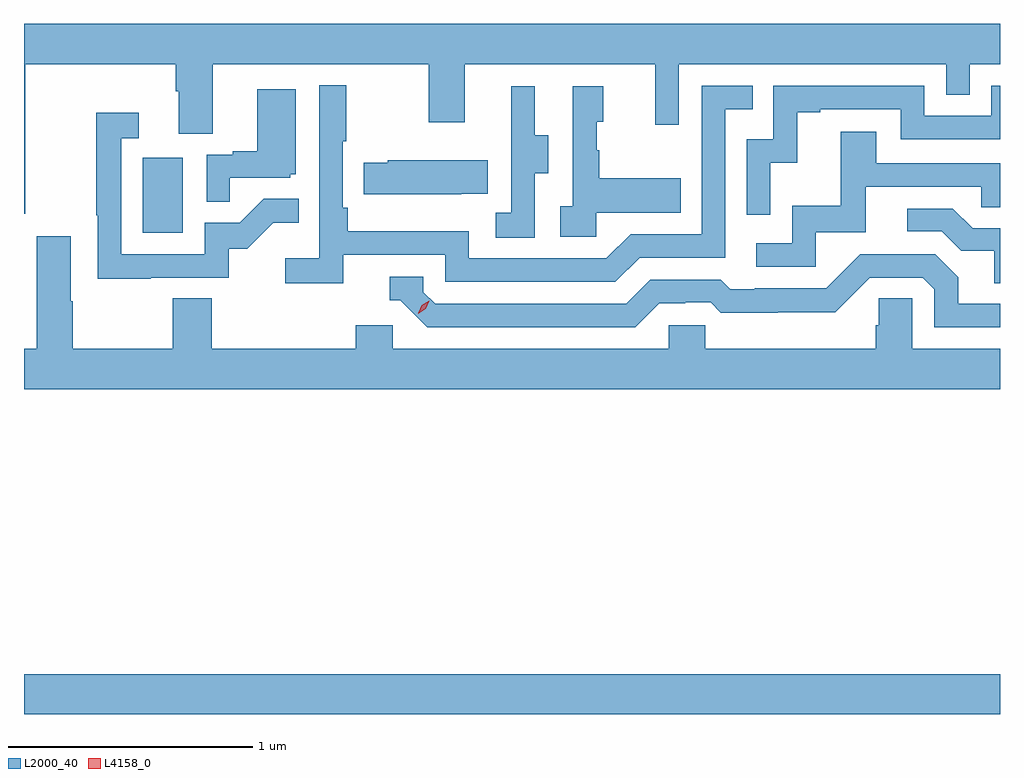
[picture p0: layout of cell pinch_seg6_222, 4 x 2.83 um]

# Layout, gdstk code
import gdstk
lib = gdstk.Library(unit=1e-6, precision=1e-09)
def R(c, l, rs):  # rectangles x0, y0, x1, y1
    for r in rs: c.add(gdstk.rectangle(r[:2], r[2:], *l))
def P(c, l, *ps):  # polygons
    for p in ps: c.add(gdstk.Polygon(p, *l))
L2000_40 = (2000, 40)
L4158_0 = (4158, 0)

pinch_seg6_222 = lib.new_cell('pinch_seg6_222')
R(pinch_seg6_222, L2000_40, [(1089.907,931.352,1093.907,931.516), (1090.394,933.324,1090.558,933.631)])
P(pinch_seg6_222, L2000_40, [(1089.913,934.016),(1090.529,934.016),(1090.529,933.904),(1090.541,933.904),(1090.541,933.73),(1090.681,933.73),(1090.681,934.016),(1091.566,934.016),(1091.566,933.777),(1091.713,933.777),(1091.713,934.016),(1092.494,934.016),(1092.494,933.768),(1092.591,933.768),(1092.591,934.016),(1093.686,934.016),(1093.686,933.889),(1093.782,933.889),(1093.782,934.016),(1093.907,934.016),(1093.907,934.18),(1089.907,934.18),(1089.907,933.402),(1089.913,933.402)],
  [(1091.216,933.234),(1091.634,933.234),(1091.634,933.123),(1092.331,933.123),(1092.43,933.222),(1092.78,933.222),(1092.78,933.831),(1092.893,933.831),(1092.893,933.927),(1092.684,933.927),(1092.684,933.318),(1092.393,933.318),(1092.294,933.219),(1091.73,933.219),(1091.73,933.331),(1091.234,933.331),(1091.234,933.427),(1091.214,933.427),(1091.214,933.7),(1091.227,933.7),(1091.227,933.928),(1091.118,933.928),(1091.118,933.22),(1090.977,933.22),(1090.977,933.118),(1091.216,933.118)],
  [(1092.966,933.611),(1093.076,933.611),(1093.076,933.819),(1093.171,933.819),(1093.171,933.831),(1093.5,933.831),(1093.5,933.708),(1093.907,933.708),(1093.907,933.927),(1093.872,933.927),(1093.872,933.804),(1093.596,933.804),(1093.596,933.927),(1092.978,933.927),(1092.978,933.708),(1092.87,933.708),(1092.87,933.399),(1092.966,933.399)],
  [(1092.252,933.407),(1092.599,933.407),(1092.599,933.547),(1092.265,933.547),(1092.265,933.662),(1092.255,933.662),(1092.255,933.78),(1092.28,933.78),(1092.28,933.925),(1092.156,933.925),(1092.156,933.434),(1092.105,933.434),(1092.105,933.309),(1092.252,933.309)],
  [(1092,933.568),(1092.055,933.568),(1092.055,933.723),(1092.001,933.723),(1092.001,933.925),(1091.903,933.925),(1091.903,933.711),(1091.904,933.711),(1091.904,933.407),(1091.841,933.407),(1091.841,933.304),(1092,933.304)],
  [(1090.751,933.549),(1090.998,933.549),(1090.998,933.564),(1091.02,933.564),(1091.02,933.913),(1090.862,933.913),(1090.862,933.658),(1090.763,933.658),(1090.763,933.645),(1090.656,933.645),(1090.656,933.451),(1090.751,933.451)],
  [(1090.427,933.141),(1090.746,933.141),(1090.746,933.258),(1090.822,933.258),(1090.929,933.365),(1091.033,933.365),(1091.033,933.464),(1090.889,933.464),(1090.791,933.366),(1090.647,933.366),(1090.647,933.237),(1090.305,933.237),(1090.305,933.711),(1090.378,933.711),(1090.378,933.817),(1090.204,933.817),(1090.204,933.397),(1090.209,933.397),(1090.209,933.136),(1090.427,933.136)],
  [(1093.152,933.327),(1093.357,933.327),(1093.357,933.513),(1093.831,933.513),(1093.831,933.429),(1093.907,933.429),(1093.907,933.609),(1093.399,933.609),(1093.399,933.739),(1093.255,933.739),(1093.255,933.436),(1093.056,933.436),(1093.056,933.282),(1092.909,933.282),(1092.909,933.186),(1093.152,933.186)],
  [(1091.699,933.485),(1091.807,933.485),(1091.807,933.622),(1091.397,933.622),(1091.397,933.612),(1091.299,933.612),(1091.299,933.482),(1091.699,933.482)],
  [(1093.907,933.342),(1093.795,933.342),(1093.714,933.423),(1093.527,933.423),(1093.527,933.33),(1093.668,933.33),(1093.748,933.25),(1093.883,933.25),(1093.883,933.118),(1093.907,933.118)],
  [(1093.907,932.848),(1093.548,932.848),(1093.548,933.056),(1093.411,933.056),(1093.411,932.946),(1093.397,932.946),(1093.397,932.848),(1092.699,932.848),(1092.699,932.946),(1092.549,932.946),(1092.549,932.848),(1091.418,932.848),(1091.418,932.946),(1091.267,932.946),(1091.267,932.848),(1090.676,932.848),(1090.676,933.056),(1090.516,933.056),(1090.516,932.848),(1090.107,932.848),(1090.107,933.044),(1090.099,933.044),(1090.099,933.31),(1089.959,933.31),(1089.959,932.848),(1089.907,932.848),(1089.907,932.684),(1093.907,932.684)],
  [(1092.511,933.036),(1092.618,933.036),(1092.618,933.039),(1092.721,933.039),(1092.763,932.997),(1092.996,932.997),(1092.996,932.999),(1093.232,932.999),(1093.374,933.141),(1093.59,933.141),(1093.638,933.093),(1093.638,932.937),(1093.907,932.937),(1093.907,933.033),(1093.735,933.033),(1093.735,933.143),(1093.641,933.237),(1093.335,933.237),(1093.194,933.096),(1092.901,933.096),(1092.901,933.093),(1092.802,933.093),(1092.763,933.132),(1092.474,933.132),(1092.375,933.033),(1091.592,933.033),(1091.544,933.081),(1091.544,933.144),(1091.405,933.144),(1091.405,933.048),(1091.448,933.048),(1091.559,932.937),(1092.412,932.937)])
P(pinch_seg6_222, L4158_0, [(1091.522,932.993),(1091.522,932.994),(1091.538,933.027),(1091.568,933.046),(1091.568,933.046),(1091.568,933.046),(1091.553,933.013),(1091.523,932.993)])

lib.write_gds('pinch_seg6_222.gds')
